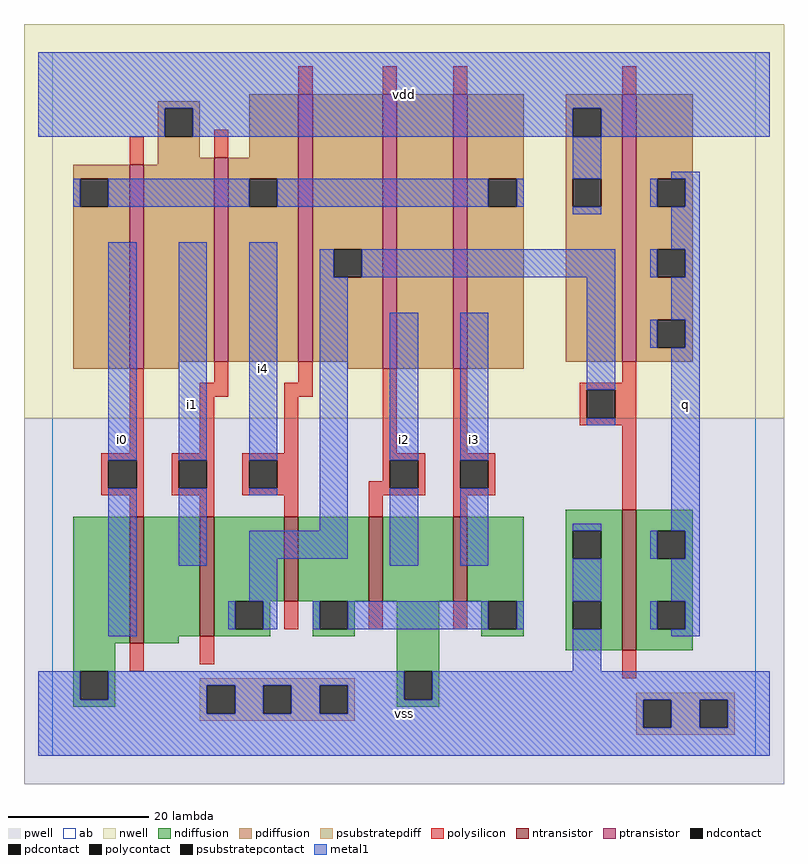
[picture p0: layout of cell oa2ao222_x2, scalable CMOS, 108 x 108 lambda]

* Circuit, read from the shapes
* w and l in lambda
.subckt oa2ao222_x2 i0 i1 i2 i3 i4 q vdd vss
M1 n1 i0 vss vss nfet w=18 l=2
M2 n2 i1 n1 vss nfet w=17 l=2
M3 n3 i4 n2 vss nfet w=12 l=2
M4 vss i2 n3 vss nfet w=12 l=2
M5 n3 i3 vss vss nfet w=12 l=2
M6 q n2 vss vss nfet w=20 l=2
M7 vdd i0 n4 n5 pfet w=29 l=2
M8 n4 i1 vdd n5 pfet w=29 l=2
M9 n2 i4 n4 n5 pfet w=38 l=2
M10 n6 i2 n2 n5 pfet w=39 l=2
M11 n4 i3 n6 n5 pfet w=39 l=2
M12 q n2 vdd n5 pfet w=38 l=2
.ends

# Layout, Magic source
magic
tech scmos
<< ab >>
rect 0 0 100 100
<< pwell >>
rect -4 -4 104 48
<< nwell >>
rect -4 48 104 104
<< polysilicon >>
rect 35 94 37 98
rect 47 94 49 98
rect 57 94 59 98
rect 81 94 83 98
rect 11 84 13 88
rect 23 85 25 89
rect 11 43 13 55
rect 23 53 25 56
rect 35 53 37 56
rect 21 51 25 53
rect 33 51 37 53
rect 21 43 23 51
rect 33 43 35 51
rect 7 42 13 43
rect 7 38 8 42
rect 12 38 13 42
rect 7 37 13 38
rect 17 42 23 43
rect 17 38 18 42
rect 22 38 23 42
rect 17 37 23 38
rect 27 42 35 43
rect 27 38 28 42
rect 32 38 35 42
rect 47 43 49 55
rect 57 43 59 55
rect 81 53 83 56
rect 75 52 83 53
rect 75 48 76 52
rect 80 48 83 52
rect 75 47 83 48
rect 47 42 53 43
rect 47 39 48 42
rect 27 37 35 38
rect 11 34 13 37
rect 21 34 23 37
rect 33 34 35 37
rect 45 38 48 39
rect 52 38 53 42
rect 45 37 53 38
rect 57 42 63 43
rect 57 38 58 42
rect 62 38 63 42
rect 57 37 63 38
rect 45 34 47 37
rect 57 34 59 37
rect 81 35 83 47
rect 33 18 35 22
rect 45 18 47 22
rect 11 12 13 16
rect 21 13 23 17
rect 57 18 59 22
rect 81 11 83 15
<< ndiffusion >>
rect 3 16 11 34
rect 13 17 21 34
rect 23 22 33 34
rect 35 22 45 34
rect 47 22 57 34
rect 59 22 67 34
rect 23 18 26 22
rect 30 18 31 22
rect 37 18 38 22
rect 42 18 43 22
rect 23 17 31 18
rect 37 17 43 18
rect 13 16 18 17
rect 3 12 9 16
rect 49 12 55 22
rect 61 18 62 22
rect 66 18 67 22
rect 61 17 67 18
rect 73 32 81 35
rect 73 28 74 32
rect 78 28 81 32
rect 73 22 81 28
rect 73 18 74 22
rect 78 18 81 22
rect 73 15 81 18
rect 83 32 91 35
rect 83 28 86 32
rect 90 28 91 32
rect 83 22 91 28
rect 83 18 86 22
rect 90 18 91 22
rect 83 15 91 18
rect 3 8 4 12
rect 8 8 9 12
rect 3 7 9 8
rect 49 8 50 12
rect 54 8 55 12
rect 49 7 55 8
<< pdiffusion >>
rect 15 92 21 93
rect 15 88 16 92
rect 20 88 21 92
rect 15 85 21 88
rect 28 85 35 94
rect 15 84 23 85
rect 3 82 11 84
rect 3 78 4 82
rect 8 78 11 82
rect 3 55 11 78
rect 13 56 23 84
rect 25 82 35 85
rect 25 78 28 82
rect 32 78 35 82
rect 25 56 35 78
rect 37 72 47 94
rect 37 68 40 72
rect 44 68 47 72
rect 37 56 47 68
rect 13 55 18 56
rect 42 55 47 56
rect 49 55 57 94
rect 59 82 67 94
rect 59 78 62 82
rect 66 78 67 82
rect 59 55 67 78
rect 73 92 81 94
rect 73 88 74 92
rect 78 88 81 92
rect 73 82 81 88
rect 73 78 74 82
rect 78 78 81 82
rect 73 56 81 78
rect 83 82 91 94
rect 83 78 86 82
rect 90 78 91 82
rect 83 72 91 78
rect 83 68 86 72
rect 90 68 91 72
rect 83 62 91 68
rect 83 58 86 62
rect 90 58 91 62
rect 83 56 91 58
<< metal1 >>
rect -2 92 102 100
rect -2 88 16 92
rect 20 88 74 92
rect 78 88 102 92
rect 74 82 78 88
rect 88 82 92 83
rect 3 78 4 82
rect 8 78 28 82
rect 32 78 62 82
rect 66 78 67 82
rect 85 78 86 82
rect 90 78 92 82
rect 74 77 78 78
rect 8 42 12 73
rect 8 17 12 38
rect 18 42 22 73
rect 18 27 22 38
rect 28 42 32 73
rect 88 72 92 78
rect 28 37 32 38
rect 38 68 40 72
rect 44 68 80 72
rect 85 68 86 72
rect 90 68 92 72
rect 38 32 42 68
rect 28 28 42 32
rect 48 42 52 63
rect 28 22 32 28
rect 48 27 52 38
rect 58 42 62 63
rect 76 52 80 68
rect 88 62 92 68
rect 85 58 86 62
rect 90 58 92 62
rect 76 47 80 48
rect 58 27 62 38
rect 74 32 78 33
rect 88 32 92 58
rect 85 28 86 32
rect 90 28 92 32
rect 74 22 78 28
rect 88 22 92 28
rect 25 18 26 22
rect 30 18 32 22
rect 37 18 38 22
rect 42 18 62 22
rect 66 18 67 22
rect 85 18 86 22
rect 90 18 92 22
rect 74 12 78 18
rect 88 17 92 18
rect -2 8 4 12
rect 8 10 50 12
rect 8 8 22 10
rect -2 6 22 8
rect 26 6 30 10
rect 34 6 38 10
rect 42 8 50 10
rect 54 8 102 12
rect 42 6 84 8
rect -2 4 84 6
rect 88 4 92 8
rect 96 4 102 8
rect -2 0 102 4
<< ntransistor >>
rect 11 16 13 34
rect 21 17 23 34
rect 33 22 35 34
rect 45 22 47 34
rect 57 22 59 34
rect 81 15 83 35
<< ptransistor >>
rect 11 55 13 84
rect 23 56 25 85
rect 35 56 37 94
rect 47 55 49 94
rect 57 55 59 94
rect 81 56 83 94
<< polycontact >>
rect 8 38 12 42
rect 18 38 22 42
rect 28 38 32 42
rect 76 48 80 52
rect 48 38 52 42
rect 58 38 62 42
<< ndcontact >>
rect 26 18 30 22
rect 38 18 42 22
rect 62 18 66 22
rect 74 28 78 32
rect 74 18 78 22
rect 86 28 90 32
rect 86 18 90 22
rect 4 8 8 12
rect 50 8 54 12
<< pdcontact >>
rect 16 88 20 92
rect 4 78 8 82
rect 28 78 32 82
rect 40 68 44 72
rect 62 78 66 82
rect 74 88 78 92
rect 74 78 78 82
rect 86 78 90 82
rect 86 68 90 72
rect 86 58 90 62
<< psubstratepcontact >>
rect 22 6 26 10
rect 30 6 34 10
rect 38 6 42 10
rect 84 4 88 8
rect 92 4 96 8
<< psubstratepdiff >>
rect 21 10 43 11
rect 21 6 22 10
rect 26 6 30 10
rect 34 6 38 10
rect 42 6 43 10
rect 83 8 97 9
rect 21 5 43 6
rect 83 4 84 8
rect 88 4 92 8
rect 96 4 97 8
rect 83 3 97 4
<< labels >>
rlabel metal1 10 45 10 45 6 i0
rlabel metal1 20 50 20 50 6 i1
rlabel metal1 30 55 30 55 6 i4
rlabel metal1 50 6 50 6 6 vss
rlabel metal1 50 45 50 45 6 i2
rlabel metal1 50 94 50 94 6 vdd
rlabel metal1 60 45 60 45 6 i3
rlabel metal1 90 50 90 50 6 q
<< end >>
